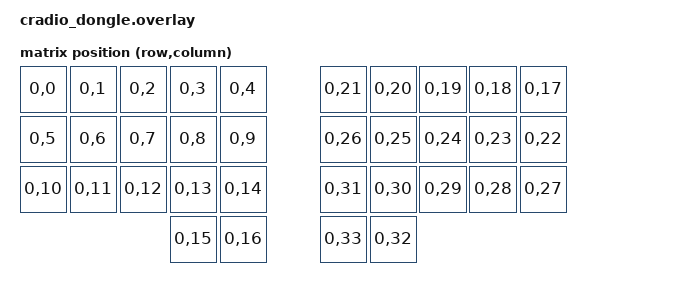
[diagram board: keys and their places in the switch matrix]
/*
 * Ferris Sweep dongle: a keyless central that owns the keymap, combos and
 * host connection, with both halves as its peripherals.
 *
 * Board-agnostic: any BLE-capable ZMK board works as the dongle. The PandaKB
 * dongle's OLED wiring lives separately in the pandakb_dongle shield.
 *
 * All parts of a split must share the exact same physical layout and matrix
 * transform. The halves get theirs from ZMK's cradio.dtsi, which lives inside
 * ZMK and so cannot be included from here; this is a verbatim copy of it (ZMK
 * v0.3.0) minus the GPIO key scanner, as ZMK's dongle guide prescribes. If ZMK
 * is upgraded, re-check it against app/boards/shields/cradio/cradio.dtsi.
 */

#include <dt-bindings/zmk/matrix_transform.h>
#include <layouts/cuddlykeyboards/ferris.dtsi>

&cuddlykeyboards_ferris_layout {
    transform = <&default_transform>;
};

/ {
    chosen {
        zmk,kscan = &mock_kscan;
    };

    default_transform: keymap_transform_0 {
        compatible = "zmk,matrix-transform";
        columns = <34>;
        rows = <1>;
        map = <
        RC(0,0)  RC(0,1)  RC(0,2)  RC(0,3)  RC(0,4)    RC(0,21) RC(0,20) RC(0,19) RC(0,18) RC(0,17)
        RC(0,5)  RC(0,6)  RC(0,7)  RC(0,8)  RC(0,9)    RC(0,26) RC(0,25) RC(0,24) RC(0,23) RC(0,22)
        RC(0,10) RC(0,11) RC(0,12) RC(0,13) RC(0,14)   RC(0,31) RC(0,30) RC(0,29) RC(0,28) RC(0,27)
                                   RC(0,15) RC(0,16)   RC(0,33) RC(0,32)
        >;
    };

    mock_kscan: mock_kscan {
        compatible = "zmk,kscan-mock";
        columns = <0>;
        rows = <0>;
        events = <0>;
    };
};
